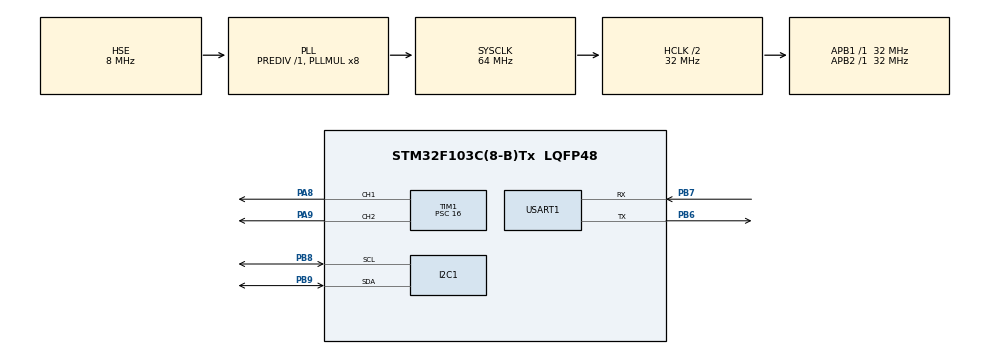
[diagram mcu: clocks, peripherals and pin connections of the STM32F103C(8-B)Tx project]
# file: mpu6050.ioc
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I2C1.I2C_Mode=I2C_Fast
Mcu.Family=STM32F1
Mcu.Name=STM32F103C(8-B)Tx
Mcu.Package=LQFP48
NVIC.PriorityGroup=NVIC_PRIORITYGROUP_4
NVIC.TIM2_IRQn=true\:0\:0\:false\:false\:true\:true\:true
PA13.Mode=Serial_Wire
PA13.Signal=SYS_JTMS-SWDIO
PA14.Mode=Serial_Wire
PA14.Signal=SYS_JTCK-SWCLK
PA8.Signal=S_TIM1_CH1
PA9.Signal=S_TIM1_CH2
PB6.Mode=Asynchronous
PB6.Signal=USART1_TX
PB7.Mode=Asynchronous
PB7.Signal=USART1_RX
PB8.Mode=I2C
PB8.Signal=I2C1_SCL
PB9.Mode=I2C
PB9.Signal=I2C1_SDA
PD0-OSC_IN.Mode=HSE-External-Oscillator
PD0-OSC_IN.Signal=RCC_OSC_IN
PD1-OSC_OUT.Mode=HSE-External-Oscillator
PD1-OSC_OUT.Signal=RCC_OSC_OUT
ProjectManager.HeapSize=0x200
ProjectManager.StackSize=0x400
ProjectManager.TargetToolchain=STM32CubeIDE
RCC.AHBCLKDivider=RCC_SYSCLK_DIV2
RCC.AHBFreq_Value=32000000
RCC.APB1Freq_Value=32000000
RCC.APB1TimFreq_Value=32000000
RCC.APB2Freq_Value=32000000
RCC.APB2TimFreq_Value=32000000
RCC.HCLKFreq_Value=32000000
RCC.PLLMUL=RCC_PLL_MUL8
RCC.PLLSourceVirtual=RCC_PLLSOURCE_HSE
RCC.SYSCLKFreq_VALUE=64000000
RCC.SYSCLKSource=RCC_SYSCLKSOURCE_PLLCLK
RCC.USBFreq_Value=64000000
SH.S_TIM1_CH1.0=TIM1_CH1,PWM Generation1 CH1
SH.S_TIM1_CH2.0=TIM1_CH2,PWM Generation2 CH2
TIM1.Channel-PWM\ Generation1\ CH1=TIM_CHANNEL_1
TIM1.Channel-PWM\ Generation2\ CH2=TIM_CHANNEL_2
TIM1.ClockDivision=TIM_CLOCKDIVISION_DIV2
TIM1.Period=1000
TIM1.Prescaler=16
TIM1.Pulse-PWM\ Generation1\ CH1=500
TIM1.Pulse-PWM\ Generation2\ CH2=500
TIM2.Period=100
TIM2.Prescaler=3200
USART1.VirtualMode=VM_ASYNC
VP_TIM1_VS_ClockSourceINT.Mode=Internal
VP_TIM2_VS_ClockSourceINT.Mode=Internal
board=custom

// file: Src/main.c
/* USER CODE BEGIN Header */
/**
  ******************************************************************************
  * @file           : main.c
  * @brief          : Main program body
  ******************************************************************************
  * @attention
  *
  * <h2><center>&copy; Copyright (c) 2019 STMicroelectronics.
  * All rights reserved.</center></h2>
  *
  * This software component is licensed by ST under BSD 3-Clause license,
  * the "License"; You may not use this file except in compliance with the
  * License. You may obtain a copy of the License at:
  *                        opensource.org/licenses/BSD-3-Clause
  *
  ******************************************************************************
  */
/* USER CODE END Header */
#include "main.h"

/* USER CODE BEGIN Includes */
#include "i2c-lcd.h"
/* USER CODE END Includes */

I2C_HandleTypeDef hi2c1;

TIM_HandleTypeDef htim1;
TIM_HandleTypeDef htim2;

UART_HandleTypeDef huart1;

void SystemClock_Config(void);
static void MX_GPIO_Init(void);
static void MX_I2C1_Init(void);
static void MX_TIM1_Init(void);
static void MX_USART1_UART_Init(void);
static void MX_TIM2_Init(void);

/* USER CODE BEGIN 0 */

#define MPU6050_ADDR 0xD0

#define SMPLRT_DIV_REG 0x19
#define GYRO_CONFIG_REG 0x1B
#define ACCEL_CONFIG_REG 0x1C
#define ACCEL_XOUT_H_REG 0x3B
#define TEMP_OUT_H_REG 0x41
#define GYRO_XOUT_H_REG 0x43
#define PWR_MGMT_1_REG 0x6B
#define WHO_AM_I_REG 0x75

int16_t Accel_X_RAW = 0;
int16_t Accel_Y_RAW = 0;
int16_t Accel_Z_RAW = 0;

int16_t Gyro_X_RAW = 0;
int16_t Gyro_Y_RAW = 0;
int16_t Gyro_Z_RAW = 0;

float Ax, Ay, Az, Gx, Gy, Gz;
volatile char buffer[25];

//variables y retardos filtro 1
volatile float I1_k, I1_k_1, I1_k_2, O1_k, O1_k_1, O1_k_2;
//variables y retardos filtro 2
volatile float I2_k, I2_k_1, I2_k_2, O2_k, O2_k_1, O2_k_2;
//variables y retardos filtro 3
volatile float I3_k, I3_k_1, I3_k_2, O3_k, O3_k_1, O3_k_2;
//variables y retardos filtro 4
volatile float I4_k, I4_k_1, I4_k_2, O4_k, O4_k_1, O4_k_2;
volatile float O;
//variables del control
volatile float u;

void clearBuffer()
{
	for(int f = 0; f < sizeof(buffer); f++){
		buffer[f] = '\0';
	}
}

void MPU6050_Init (void)
{
	uint8_t check;
	uint8_t Data;

	// check device ID WHO_AM_I

	HAL_I2C_Mem_Read (&hi2c1, MPU6050_ADDR,WHO_AM_I_REG,1, &check, 1, 1000);

	if (check == 104)  // 0x68 will be returned by the sensor if everything goes well
	{
		// power management register 0X6B we should write all 0's to wake the sensor up
		Data = 0;
		HAL_I2C_Mem_Write(&hi2c1, MPU6050_ADDR, PWR_MGMT_1_REG, 1,&Data, 1, 1000);

		// Set DATA RATE of 1KHz by writing SMPLRT_DIV register
		Data = 0x07;
		HAL_I2C_Mem_Write(&hi2c1, MPU6050_ADDR, SMPLRT_DIV_REG, 1, &Data, 1, 1000);

		// Set accelerometer configuration in ACCEL_CONFIG Register
		// XA_ST=0,YA_ST=0,ZA_ST=0, FS_SEL=0 -> � 2g
		Data = 0x00;
		HAL_I2C_Mem_Write(&hi2c1, MPU6050_ADDR, ACCEL_CONFIG_REG, 1, &Data, 1, 1000);

		// Set Gyroscopic configuration in GYRO_CONFIG Register
		// XG_ST=0,YG_ST=0,ZG_ST=0, FS_SEL=0 -> � 250 �/s
		Data = 0x00;
		HAL_I2C_Mem_Write(&hi2c1, MPU6050_ADDR, GYRO_CONFIG_REG, 1, &Data, 1, 1000);
	}

}

void MPU6050_Read_Accel (void)
{
	uint8_t Rec_Data[6];

	// Read 6 BYTES of data starting from ACCEL_XOUT_H register

	HAL_I2C_Mem_Read (&hi2c1, MPU6050_ADDR, ACCEL_XOUT_H_REG, 1, Rec_Data, 6, 1000);

	Accel_X_RAW = (int16_t)(Rec_Data[0] << 8 | Rec_Data [1]);
	Accel_Y_RAW = (int16_t)(Rec_Data[2] << 8 | Rec_Data [3]);
	Accel_Z_RAW = (int16_t)(Rec_Data[4] << 8 | Rec_Data [5]);

	/*** convert the RAW values into acceleration in 'g'
	     we have to divide according to the Full scale value set in FS_SEL
	     I have configured FS_SEL = 0. So I am dividing by 16384.0
	     for more details check ACCEL_CONFIG Register              ****/

	Ax = Accel_X_RAW/16384.0;
	Ay = (0.0040048828125)*Accel_Y_RAW;
	Az = Accel_Z_RAW/16384.0;
}

/* USER CODE END 0 */

int main(void)
{
  /* USER CODE BEGIN 1 */
	I1_k = 0;
	I1_k_1 = 0;
	I1_k_2 = 0;
	O1_k = 0;
	O1_k_1 = 0;
	O1_k_2 = 0;
	I2_k = 0;
	I2_k_1 = 0;
	I2_k_2 = 0;
	O2_k = 0;
	O2_k_1 = 0;
	O2_k_2 = 0;
	I3_k = 0;
	I3_k_1 = 0;
	I3_k_2 = 0;
	O3_k = 0;
	O3_k_1 = 0;
	O3_k_2 = 0;
	I4_k = 0;
	I4_k_1 = 0;
	I4_k_2 = 0;
	O4_k = 0;
	O4_k_1 = 0;
	O4_k_2 = 0;
  /* USER CODE END 1 */

  /* MCU Configuration--------------------------------------------------------*/

  /* Reset of all peripherals, Initializes the Flash interface and the Systick. */
  HAL_Init();

  /* Configure the system clock */
  SystemClock_Config();

  /* Initialize all configured peripherals */
  MX_GPIO_Init();
  MX_I2C1_Init();
  MX_TIM1_Init();
  MX_USART1_UART_Init();
  MX_TIM2_Init();
  /* USER CODE BEGIN 2 */
  MPU6050_Init();
  HAL_TIM_Base_Start_IT(&htim2);
  HAL_TIM_PWM_Start(&htim1, TIM_CHANNEL_1);
  HAL_TIM_PWM_Start(&htim1, TIM_CHANNEL_2);
  /* USER CODE END 2 */

  /* Infinite loop */
  while (1)
  {

    /* USER CODE BEGIN 3 */

	  // read the Accelerometer
	  MPU6050_Read_Accel();
	  //enviamos accelerometro por UART
	  sprintf(buffer,"%.4f, %.4f\n\r",Ay,O);
	  HAL_UART_Transmit(&huart1, buffer, sizeof(buffer), HAL_MAX_DELAY);
	  clearBuffer();

  }
  /* USER CODE END 3 */
}

void SystemClock_Config(void)
{
  RCC_OscInitTypeDef RCC_OscInitStruct = {0};
  RCC_ClkInitTypeDef RCC_ClkInitStruct = {0};

  /** Initializes the RCC Oscillators according to the specified parameters
  * in the RCC_OscInitTypeDef structure.
  */
  RCC_OscInitStruct.OscillatorType = RCC_OSCILLATORTYPE_HSE;
  RCC_OscInitStruct.HSEState = RCC_HSE_ON;
  RCC_OscInitStruct.HSEPredivValue = RCC_HSE_PREDIV_DIV1;
  RCC_OscInitStruct.HSIState = RCC_HSI_ON;
  RCC_OscInitStruct.PLL.PLLState = RCC_PLL_ON;
  RCC_OscInitStruct.PLL.PLLSource = RCC_PLLSOURCE_HSE;
  RCC_OscInitStruct.PLL.PLLMUL = RCC_PLL_MUL8;
  if (HAL_RCC_OscConfig(&RCC_OscInitStruct) != HAL_OK)
  {
    Error_Handler();
  }
  /** Initializes the CPU, AHB and APB buses clocks
  */
  RCC_ClkInitStruct.ClockType = RCC_CLOCKTYPE_HCLK|RCC_CLOCKTYPE_SYSCLK
                              |RCC_CLOCKTYPE_PCLK1|RCC_CLOCKTYPE_PCLK2;
  RCC_ClkInitStruct.SYSCLKSource = RCC_SYSCLKSOURCE_PLLCLK;
  RCC_ClkInitStruct.AHBCLKDivider = RCC_SYSCLK_DIV2;
  RCC_ClkInitStruct.APB1CLKDivider = RCC_HCLK_DIV1;
  RCC_ClkInitStruct.APB2CLKDivider = RCC_HCLK_DIV1;

  if (HAL_RCC_ClockConfig(&RCC_ClkInitStruct, FLASH_LATENCY_2) != HAL_OK)
  {
    Error_Handler();
  }
}

static void MX_I2C1_Init(void)
{

  hi2c1.Instance = I2C1;
  hi2c1.Init.ClockSpeed = 400000;
  hi2c1.Init.DutyCycle = I2C_DUTYCYCLE_2;
  hi2c1.Init.OwnAddress1 = 0;
  hi2c1.Init.AddressingMode = I2C_ADDRESSINGMODE_7BIT;
  hi2c1.Init.DualAddressMode = I2C_DUALADDRESS_DISABLE;
  hi2c1.Init.OwnAddress2 = 0;
  hi2c1.Init.GeneralCallMode = I2C_GENERALCALL_DISABLE;
  hi2c1.Init.NoStretchMode = I2C_NOSTRETCH_DISABLE;
  if (HAL_I2C_Init(&hi2c1) != HAL_OK)
  {
    Error_Handler();
  }

}

static void MX_TIM1_Init(void)
{

  TIM_ClockConfigTypeDef sClockSourceConfig = {0};
  TIM_MasterConfigTypeDef sMasterConfig = {0};
  TIM_OC_InitTypeDef sConfigOC = {0};
  TIM_BreakDeadTimeConfigTypeDef sBreakDeadTimeConfig = {0};

  htim1.Instance = TIM1;
  htim1.Init.Prescaler = 16;
  htim1.Init.CounterMode = TIM_COUNTERMODE_UP;
  htim1.Init.Period = 1000;
  htim1.Init.ClockDivision = TIM_CLOCKDIVISION_DIV2;
  htim1.Init.RepetitionCounter = 0;
  htim1.Init.AutoReloadPreload = TIM_AUTORELOAD_PRELOAD_DISABLE;
  if (HAL_TIM_Base_Init(&htim1) != HAL_OK)
  {
    Error_Handler();
  }
  sClockSourceConfig.ClockSource = TIM_CLOCKSOURCE_INTERNAL;
  if (HAL_TIM_ConfigClockSource(&htim1, &sClockSourceConfig) != HAL_OK)
  {
    Error_Handler();
  }
  if (HAL_TIM_PWM_Init(&htim1) != HAL_OK)
  {
    Error_Handler();
  }
  sMasterConfig.MasterOutputTrigger = TIM_TRGO_RESET;
  sMasterConfig.MasterSlaveMode = TIM_MASTERSLAVEMODE_DISABLE;
  if (HAL_TIMEx_MasterConfigSynchronization(&htim1, &sMasterConfig) != HAL_OK)
  {
    Error_Handler();
  }
  sConfigOC.OCMode = TIM_OCMODE_PWM1;
  sConfigOC.Pulse = 500;
  sConfigOC.OCPolarity = TIM_OCPOLARITY_HIGH;
  sConfigOC.OCNPolarity = TIM_OCNPOLARITY_HIGH;
  sConfigOC.OCFastMode = TIM_OCFAST_DISABLE;
  sConfigOC.OCIdleState = TIM_OCIDLESTATE_RESET;
  sConfigOC.OCNIdleState = TIM_OCNIDLESTATE_RESET;
  if (HAL_TIM_PWM_ConfigChannel(&htim1, &sConfigOC, TIM_CHANNEL_1) != HAL_OK)
  {
    Error_Handler();
  }
  if (HAL_TIM_PWM_ConfigChannel(&htim1, &sConfigOC, TIM_CHANNEL_2) != HAL_OK)
  {
    Error_Handler();
  }
  sBreakDeadTimeConfig.OffStateRunMode = TIM_OSSR_DISABLE;
  sBreakDeadTimeConfig.OffStateIDLEMode = TIM_OSSI_DISABLE;
  sBreakDeadTimeConfig.LockLevel = TIM_LOCKLEVEL_OFF;
  sBreakDeadTimeConfig.DeadTime = 0;
  sBreakDeadTimeConfig.BreakState = TIM_BREAK_DISABLE;
  sBreakDeadTimeConfig.BreakPolarity = TIM_BREAKPOLARITY_HIGH;
  sBreakDeadTimeConfig.AutomaticOutput = TIM_AUTOMATICOUTPUT_DISABLE;
  if (HAL_TIMEx_ConfigBreakDeadTime(&htim1, &sBreakDeadTimeConfig) != HAL_OK)
  {
    Error_Handler();
  }
  HAL_TIM_MspPostInit(&htim1);

}

static void MX_TIM2_Init(void)
{

  TIM_ClockConfigTypeDef sClockSourceConfig = {0};
  TIM_MasterConfigTypeDef sMasterConfig = {0};

  htim2.Instance = TIM2;
  htim2.Init.Prescaler = 3200;
  htim2.Init.CounterMode = TIM_COUNTERMODE_UP;
  htim2.Init.Period = 100;
  htim2.Init.ClockDivision = TIM_CLOCKDIVISION_DIV1;
  htim2.Init.AutoReloadPreload = TIM_AUTORELOAD_PRELOAD_DISABLE;
  if (HAL_TIM_Base_Init(&htim2) != HAL_OK)
  {
    Error_Handler();
  }
  sClockSourceConfig.ClockSource = TIM_CLOCKSOURCE_INTERNAL;
  if (HAL_TIM_ConfigClockSource(&htim2, &sClockSourceConfig) != HAL_OK)
  {
    Error_Handler();
  }
  sMasterConfig.MasterOutputTrigger = TIM_TRGO_RESET;
  sMasterConfig.MasterSlaveMode = TIM_MASTERSLAVEMODE_DISABLE;
  if (HAL_TIMEx_MasterConfigSynchronization(&htim2, &sMasterConfig) != HAL_OK)
  {
    Error_Handler();
  }

}

static void MX_USART1_UART_Init(void)
{

  huart1.Instance = USART1;
  huart1.Init.BaudRate = 115200;
  huart1.Init.WordLength = UART_WORDLENGTH_8B;
  huart1.Init.StopBits = UART_STOPBITS_1;
  huart1.Init.Parity = UART_PARITY_NONE;
  huart1.Init.Mode = UART_MODE_TX_RX;
  huart1.Init.HwFlowCtl = UART_HWCONTROL_NONE;
  huart1.Init.OverSampling = UART_OVERSAMPLING_16;
  if (HAL_UART_Init(&huart1) != HAL_OK)
  {
    Error_Handler();
  }

}

static void MX_GPIO_Init(void)
{

  /* GPIO Ports Clock Enable */
  __HAL_RCC_GPIOD_CLK_ENABLE();
  __HAL_RCC_GPIOA_CLK_ENABLE();
  __HAL_RCC_GPIOB_CLK_ENABLE();

}

/* USER CODE BEGIN 4 */
void HAL_TIM_PeriodElapsedCallback(TIM_HandleTypeDef *htim){
	//actualización filtro 1
	I1_k_2 = I1_k_1;
	I1_k_1 = I1_k;
	I1_k = Ay;
	O1_k_2 = O1_k_1;
	O1_k_1 = O1_k;
	O1_k = I1_k+2.000347533644175*I1_k_1+0.999883597874393*I1_k_2+1.459706254894505*O1_k_1-0.534825985311821*O1_k_2;
	//Actualización filtro 2
	I2_k_2 = I2_k_1;
	I2_k_1 = I2_k;
	I2_k = O1_k;
	O2_k_2 = O2_k_1;
	O2_k_1 = O2_k;
	O2_k = I2_k+2.030459710047579*I2_k_1+1.030928964525487*I2_k_2+1.513290765323392*O2_k_1-0.591168074136782*O2_k_2;
	//Actualización filtro 3
	I3_k_2 = I3_k_1;
	I3_k_1 = I3_k;
	I3_k = O2_k;
	O3_k_2 = O3_k_1;
	O3_k_1 = O3_k;
	O3_k = I3_k+1.999652525003121*I3_k_1+1.000116453073112*I3_k_2+1.623405697566375*O3_k_1-0.706949765685962*O3_k_2;
	//Actualización filtro 4
	I4_k_2 = I4_k_1;
	I4_k_1 = I4_k;
	I4_k = O3_k;
	O4_k_2 = O4_k_1;
	O4_k_1 = O4_k;
	O4_k = I4_k+1.969540231305121*I4_k_1+0.969998901008819*I4_k_2+1.793961845324269*O4_k_1-0.886283112069342*O4_k_2;
	O = 1.76255374e-7*O4_k;
	//Motor izquierdo
	u = 200;
	htim1.Instance->CCR1 = 500+u;
	//Motor derecho
	htim1.Instance->CCR2 = 500-u;
}
/* USER CODE END 4 */

void Error_Handler(void)
{
}

/************************ (C) COPYRIGHT STMicroelectronics *****END OF FILE****/
